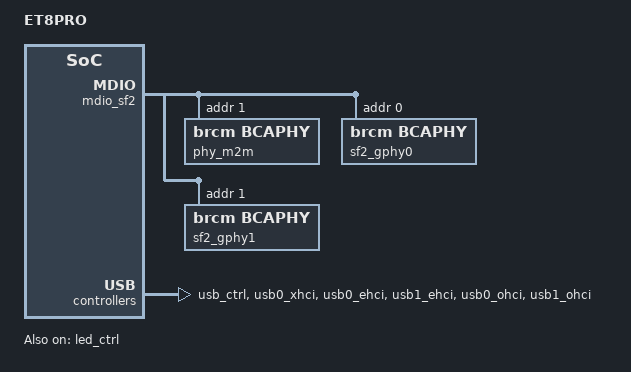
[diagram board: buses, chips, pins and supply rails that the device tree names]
#include "6756.dtsi"

/ {
	model="ET8PRO";

	memory_controller {
		memcfg = <(BP_DDR_TYPE_DDR4       | \
			/* CUSTOM speed 1026MHz */
			BP_DDR_SPEED_CUSTOM_1         | \
			BP_DDR_TOTAL_SIZE_512MB       | \
			BP_DDR_DEVICE_WIDTH_16        | \
			BP_DDR_TOTAL_WIDTH_16BIT      | \
			BP_DDR_TEMP_EXTENDED_ASR      | \
			BP_DDR_6756_DEFAULT)>;
	};

	switch_sf2_ext:0 {
	};
};

&sysport {
    ethsw_ext = <&switch_sf2_ext>;
};


&mdio_sf2 {
	phy_ge:8 {
		status = "okay";
	};

	phy_m2m:m2m {
		compatible = "brcm,bcaphy";
		phy-type = "MAC2MAC";
		reg = <1>;
		status = "okay";
		phy-extswitch;
	};

	/* PHYs on external SF2 switch */
	sf2_gphy0:0 {
		compatible = "brcm,bcaphy";
		phy-type = "EGPHY";
		reg = <0>;
		status = "okay";
	};
	sf2_gphy1:1 {
		compatible = "brcm,bcaphy";
		phy-type = "EGPHY";
		reg = <1>;
		status = "okay";
	};

	phy_cascade0:cascade0 {
		reg = <28>;
		status = "okay";
	};
	phy_serdes0:serdes0 {
		phy-handle = <&phy_cascade0>;
		status = "okay";
	};
};

&switch_sf2_ext {                       /* linux: external sf2 */
	unit = <1>;
	sw-type = "SF2_SW";

	compatible = "brcm,bcmbca-extsw";
	reg-names ="parent-rgmii-ctrl",
	           "parent-gpio-pad-ctrl";
	reg = <0x804800ec 0x44>,
	      <0xff800500 0x78>;
	switch-reset = <&gpioc 10 GPIO_ACTIVE_LOW>;

	ports {
		#address-cells = <1>;
		#size-cells = <0>;

		sf2_port0@0 {
			phy-handle = <&sf2_gphy0>;
			reg = <0>;
			mac-type = "SF2MAC";
			phy-mode = "gmii";
			gmii-direct;
			status = "okay";
		};
		sf2_port1@1 {
			phy-handle = <&sf2_gphy1>;
			reg = <1>;
			mac-type = "SF2MAC";
			phy-mode = "gmii";
			gmii-direct;
			status = "okay";
		};
		sf2_port8@8 {
			management;                     /* sf2_ext.p8 <--> root.p1 */
			reg = <8>;
			mac-type = "SF2MAC";
			shrink-ipg;
			phy-mode = "gmii";
			gmii-direct;
			status = "okay";
		};
	};
};

&switch0 {
    pinctrl-names = "default", "rgmii";
    pinctrl-0 = <&a_rgmii_mdc_pin_68 &a_rgmii_mdio_pin_69 &rgmii_pins>;
    pinctrl-1 = <&rgmii_pins>;
 
	ports {
		port0@0 {
            phy-handle = <&phy_ge>;
			status = "okay";
			label = "eth3";
		};
		port1@1 {
			phy-handle = <&phy_m2m>;
			mii-pinctrl-state = "rgmii";
			phy-mode = "rgmii";
			rgmii-3p3v;
			rx-delay;
			tx-delay;
			link = <&switch_sf2_ext>;           /* root.p1 <--> sf2_ext.p8 */
			shrink-ipg;
			status = "okay";
		};
		port5@5 {
			phy-handle = <&phy_serdes0>;
			status = "okay";
			label = "eth0";
		};
	};
};

&led_ctrl {
    status="okay";

	led0:sw_led_14 {
		active_low;
		pinctrl-0=<&a_per_led_14_pin_14>;
        status = "okay";
        brightness = <0>;
	};
	led1:sw_led_15 {
		active_low;
		pinctrl-0=<&a_per_led_15_pin_15>;
        status = "okay";
        brightness = <0>;
	};
	led2:sw_led_16 {
		active_low;
		pinctrl-0=<&a_per_led_16_pin_16>;
        status = "okay";
        brightness = <0>;
	};
	led3:sw_led_29 {
		active_low;
		pinctrl-0=<&a_per_led_29_pin_29>;
        status = "okay";
        brightness = <0>;
	};
};

&usb_ctrl {
    pinctrl-names="default";
    pinctrl-0 = <&usb0_pwr_pins &usb1_pwr_pins>;
    status = "okay";
    xhci-enable;
};

&usb0_xhci {
    status = "okay";
};

&usb0_ehci {
    status = "okay";
};

&usb1_ehci {
    status = "okay";
};

&usb0_ohci {
    status = "okay";
};

&usb1_ohci {
    status = "okay";
};
